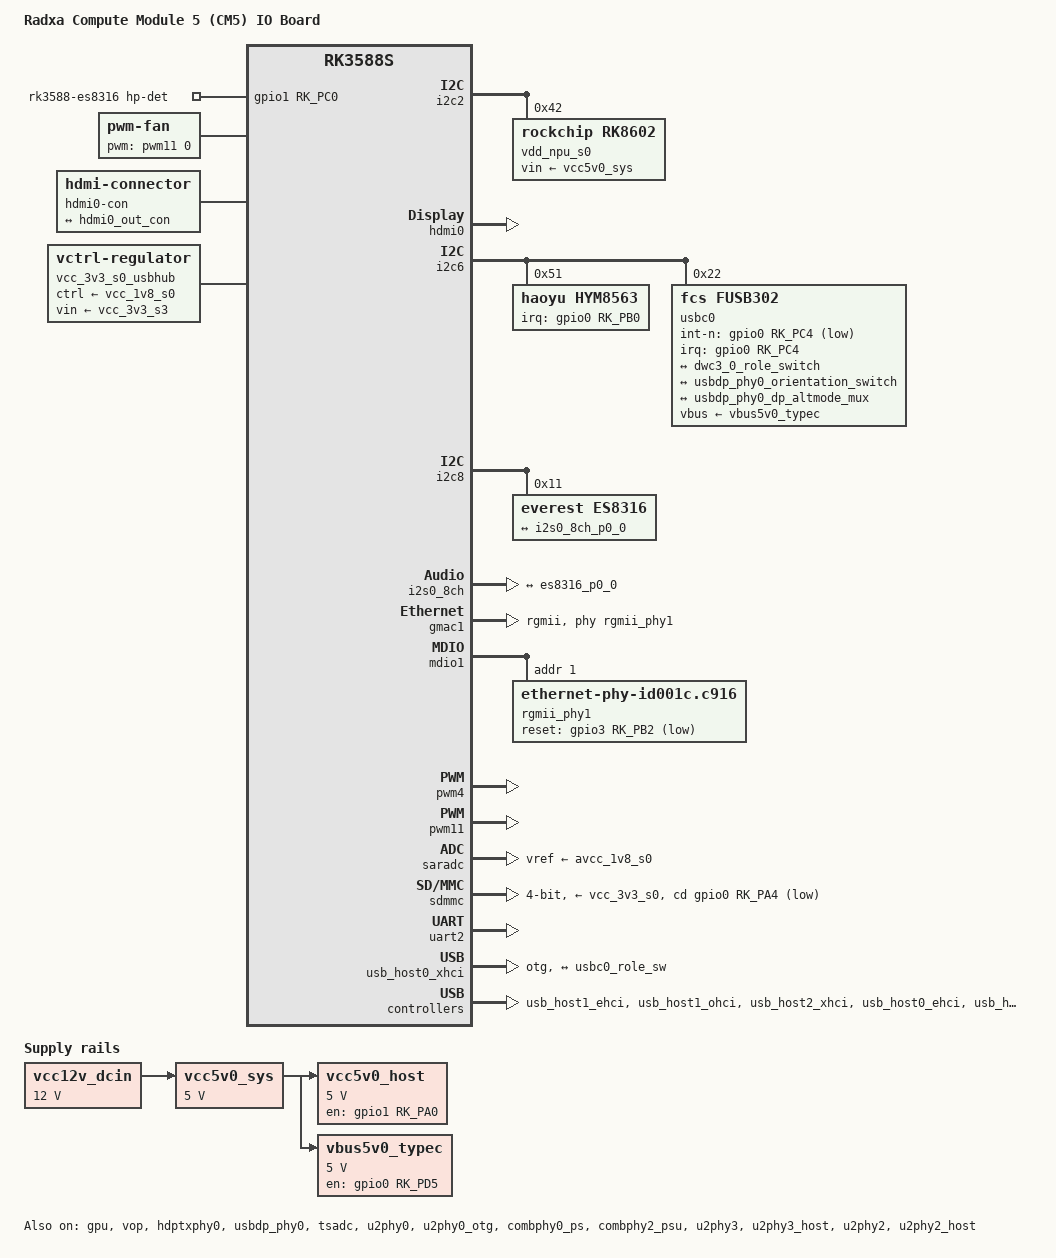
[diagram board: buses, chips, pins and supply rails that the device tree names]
// SPDX-License-Identifier: (GPL-2.0+ OR MIT)

/dts-v1/;

#include <dt-bindings/gpio/gpio.h>
#include <dt-bindings/leds/common.h>
#include <dt-bindings/pinctrl/rockchip.h>
#include <dt-bindings/soc/rockchip,vop2.h>
#include "dt-bindings/usb/pd.h"
#include "rk3588s-radxa-cm5.dtsi"

/ {
	model = "Radxa Compute Module 5 (CM5) IO Board";
	compatible = "radxa,cm5-io", "radxa,cm5", "rockchip,rk3588s";

	aliases {
		ethernet0 = &gmac1;
		mmc0 = &sdmmc;
		mmc1 = &sdhci;
		mmc2 = &sdio;
	};

	analog-sound {
		compatible = "audio-graph-card";
		label = "rk3588-es8316";

		widgets = "Microphone", "Mic Jack",
			  "Headphone", "Headphones";

		routing = "MIC2", "Mic Jack",
			  "Headphones", "HPOL",
			  "Headphones", "HPOR";

		dais = <&i2s0_8ch_p0>;
		hp-det-gpios = <&gpio1 RK_PC0 GPIO_ACTIVE_HIGH>;
		pinctrl-names = "default";
		pinctrl-0 = <&hp_detect>;
	};

	chosen {
		stdout-path = "serial2:1500000n8";
	};

	fan: pwm-fan {
		compatible = "pwm-fan";
		cooling-levels = <0 64 128 192 255>;
		pwms = <&pwm11 0 60000 0>;
		#cooling-cells = <2>;
	};

	hdmi0-con {
		compatible = "hdmi-connector";
		type = "a";

		port {
			hdmi0_con_in: endpoint {
				remote-endpoint = <&hdmi0_out_con>;
			};
		};
	};

	vcc12v_dcin: vcc12v-dcin-regulator {
		compatible = "regulator-fixed";
		regulator-name = "vcc12v_dcin";
		regulator-always-on;
		regulator-boot-on;
		regulator-min-microvolt = <12000000>;
		regulator-max-microvolt = <12000000>;
	};

	vcc_3v3_s0_usbhub: vcc3v3-s0-usb-hub-regulator {
		compatible = "vctrl-regulator";
		regulator-name = "vcc_3v3_s0_usbhub";
		regulator-boot-on;
		ctrl-supply = <&vcc_1v8_s0>;
		ctrl-voltage-range = <1700000 1900000>;
		regulator-always-on;
		regulator-min-microvolt = <3300000>;
		regulator-max-microvolt = <3300000>;
		vin-supply = <&vcc_3v3_s3>;
	};

	// TODO rename
	vcc5v0_host: vcc5v0-host-regulator {
		compatible = "regulator-fixed";
		regulator-name = "vcc5v0_host";
		regulator-boot-on;
		regulator-always-on;
		regulator-min-microvolt = <5000000>;
		regulator-max-microvolt = <5000000>;
		enable-active-high;
		gpio = <&gpio1 RK_PA0 GPIO_ACTIVE_HIGH>;
		pinctrl-names = "default";
		pinctrl-0 = <&vcc5v0_usb_host_pwren>;
		vin-supply = <&vcc5v0_sys>;
	};

	vbus5v0_typec: vbus5v0-typec {
		compatible = "regulator-fixed";
		regulator-name = "vbus5v0_typec";
		regulator-boot-on;
		regulator-always-on;
		regulator-min-microvolt = <5000000>;
		regulator-max-microvolt = <5000000>;
		enable-active-high;
		gpio = <&gpio0 RK_PD5 GPIO_ACTIVE_HIGH>;
		pinctrl-names = "default";
		pinctrl-0 = <&vbus5v0_typec_en>;
		vin-supply = <&vcc5v0_sys>;
	};

	vcc5v0_sys: vcc5v0-sys-regulator {
		compatible = "regulator-fixed";
		regulator-name = "vcc5v0_sys";
		regulator-always-on;
		regulator-boot-on;
		regulator-min-microvolt = <5000000>;
		regulator-max-microvolt = <5000000>;
		vin-supply = <&vcc12v_dcin>;
	};
};

&i2c2 {
	status = "okay";
	vdd_npu_s0: regulator@42 {
		compatible = "rockchip,rk8602";
		reg = <0x42>;
		fcs,suspend-voltage-selector = <1>;
		regulator-name = "vdd_npu_s0";
		regulator-always-on;
		regulator-boot-on;
		regulator-min-microvolt = <550000>;
		regulator-max-microvolt = <950000>;
		regulator-ramp-delay = <2300>;
		vin-supply = <&vcc5v0_sys>;

		regulator-state-mem {
			regulator-off-in-suspend;
		};
	};
};


&gpu {
	mali-supply = <&vdd_gpu_s0>;
	sram-supply = <&vdd_gpu_mem_s0>;
	status = "okay";
};


&hdmi0 {
	status = "okay";
};


&hdmi0_in {
	hdmi0_in_vp0: endpoint {
		remote-endpoint = <&vp0_out_hdmi0>;
	};
};

&hdmi0_out {
	hdmi0_out_con: endpoint {
		remote-endpoint = <&hdmi0_con_in>;
	};
};

&vop {
	status = "okay";
};

&hdptxphy0 {
	status = "okay";
};

&vop_mmu {
	status = "okay";
};
&vp0 {
	vp0_out_hdmi0: endpoint@ROCKCHIP_VOP2_EP_HDMI0 {
		reg = <ROCKCHIP_VOP2_EP_HDMI0>;
		remote-endpoint = <&hdmi0_in_vp0>;
	};
};

&i2c6 {
	status = "okay";
	pinctrl-names = "default";
	pinctrl-0 = <&i2c6m3_xfer>;


	hym8563: rtc@51 {
		compatible = "haoyu,hym8563";
		reg = <0x51>;
		#clock-cells = <0>;
		clock-output-names = "hym8563";
		pinctrl-names = "default";
		pinctrl-0 = <&hym8563_int>;
		interrupt-parent = <&gpio0>;
		interrupts = <RK_PB0 IRQ_TYPE_LEVEL_LOW>;
		wakeup-source;
	};

	usbc0: fusb302@22 {
		compatible = "fcs,fusb302";
		reg = <0x22>;
		interrupt-parent = <&gpio0>;
		interrupts = <RK_PC4 IRQ_TYPE_LEVEL_LOW>;
		int-n-gpios = <&gpio0 RK_PC4 GPIO_ACTIVE_LOW>;
		pinctrl-names = "default";
		pinctrl-0 = <&usbc0_int>;
		vbus-supply = <&vbus5v0_typec>;
		status = "okay";

		ports {
			#address-cells = <1>;
			#size-cells = <0>;
			port@0 {
			reg = <0>;
			usbc0_role_sw: endpoint@0 {
				remote-endpoint = <&dwc3_0_role_switch>;
				};
			};
		};

		usb_con: connector {
			compatible = "usb-c-connector";
			label = "USB-C";
			data-role = "dual";
			power-role = "dual";
			try-power-role = "sink";
			op-sink-microwatt = <1000000>;

			sink-pdos = <PDO_FIXED(5000, 1000, PDO_FIXED_USB_COMM)>;

			source-pdos = <PDO_FIXED(5000, 3000, PDO_FIXED_USB_COMM)>;

			altmodes {
				#address-cells = <1>;
				#size-cells = <0>;

				altmode@0 {
					reg = <0>;
					svid = <0xff01>;
					vdo = <0xffffffff>;
				};
			};

			ports {
				#address-cells = <1>;
				#size-cells = <0>;

				port@0 {
					reg = <0>;
					usbc0_orien_sw: endpoint {
						remote-endpoint = <&usbdp_phy0_orientation_switch>;
					};
				};

				port@1 {
					reg = <1>;
					dp_altmode_mux: endpoint {
						remote-endpoint = <&usbdp_phy0_dp_altmode_mux>;
					};
				};
			};
		};
	};
};

&usbdp_phy0 {
	status = "okay";
	orientation-switch;
	svid = <0xff01>;
	sbu1-dc-gpios = <&gpio3 RK_PC4 GPIO_ACTIVE_HIGH>;
	sbu2-dc-gpios = <&gpio3 RK_PD4 GPIO_ACTIVE_HIGH>;

	port {
		#address-cells = <1>;
		#size-cells = <0>;
		usbdp_phy0_orientation_switch: endpoint@0 {
			reg = <0>;
			remote-endpoint = <&usbc0_orien_sw>;
		};

		usbdp_phy0_dp_altmode_mux: endpoint@1 {
			reg = <1>;
			remote-endpoint = <&dp_altmode_mux>;
		};
	};
};

&i2c8 {
	status = "okay";
	pinctrl-0 = <&i2c8m2_xfer>;
	es8316: audio-codec@11 {
		compatible = "everest,es8316";
		reg = <0x11>;
		clocks = <&cru I2S0_8CH_MCLKOUT>;
		clock-names = "mclk";
		assigned-clocks = <&cru I2S0_8CH_MCLKOUT>;
		assigned-clock-rates = <12288000>;
		#sound-dai-cells = <0>;

		port {
			es8316_p0_0: endpoint {
				remote-endpoint = <&i2s0_8ch_p0_0>;
			};
		};
	};
};

&i2s0_8ch {
	pinctrl-names = "default";
	pinctrl-0 = <&i2s0_lrck
		     &i2s0_mclk
		     &i2s0_sclk
		     &i2s0_sdi0
		     &i2s0_sdo0>;
	status = "okay";

	i2s0_8ch_p0: port {
		i2s0_8ch_p0_0: endpoint {
			dai-format = "i2s";
			mclk-fs = <256>;
			remote-endpoint = <&es8316_p0_0>;
		};
	};
};

&gmac1 {
	clock_in_out = "output";
	phy-handle = <&rgmii_phy1>;
	phy-mode = "rgmii";
	pinctrl-0 = <&gmac1_miim
		     &gmac1_tx_bus2
		     &gmac1_rx_bus2
		     &gmac1_rgmii_clk
		     &gmac1_rgmii_bus>;
	pinctrl-names = "default";
	tx_delay = <0x41>;
	rx_delay = <0x3a>;
	status = "okay";
};

&mdio1 {
	rgmii_phy1: ethernet-phy@1 {
		/* RTL8211F */
		compatible = "ethernet-phy-id001c.c916";
		reg = <0x1>;
		pinctrl-names = "default";
		pinctrl-0 = <&rtl8211f_rst>;
		reset-assert-us = <20000>;
		reset-deassert-us = <100000>;
		reset-gpios = <&gpio3 RK_PB2 GPIO_ACTIVE_LOW>;
	};
};

&pinctrl {
	fusb302 {
		vbus5v0_typec_en: vbus5v0-typec-en {
			rockchip,pins = <0 RK_PD5 RK_FUNC_GPIO &pcfg_pull_none>;
		};

		usbc0_int: usbc0-int {
			rockchip,pins = <0 RK_PC4 RK_FUNC_GPIO &pcfg_pull_up>;
		};
	};

	hym8563 {
		hym8563_int: hym8563-int {
			rockchip,pins = <0 RK_PB0 RK_FUNC_GPIO &pcfg_pull_none>;
		};
	};

	sound {
		hp_detect: hp-detect {
			rockchip,pins = <1 RK_PC0 RK_FUNC_GPIO &pcfg_pull_none>;
		};
	};

	usb {
		vcc5v0_usb_host_pwren: vcc5v0-usb-host-pwren {
			rockchip,pins = <1 RK_PA0 RK_FUNC_GPIO &pcfg_pull_none>;
		};

		vcc5v0_typec5v_pwren: vcc5v0-typec5v-pwren {
			rockchip,pins = <0 RK_PD5 RK_FUNC_GPIO &pcfg_pull_none>;
		};
	};

	wifibt {
		wl_reset: wl-reset {
			rockchip,pins = <0 RK_PD0 RK_FUNC_GPIO &pcfg_pull_up>;
		};

		wl_dis: wl-dis {
			rockchip,pins = <0 RK_PD5 RK_FUNC_GPIO &pcfg_output_high>;
		};

		wl_wake_host: wl-wake-host {
			rockchip,pins = <0 RK_PC7 RK_FUNC_GPIO &pcfg_pull_up>;
		};

		bt_dis: bt-dis {
			rockchip,pins = <0 RK_PD4 RK_FUNC_GPIO &pcfg_output_high>;
		};

		bt_wake_host: bt-wake-host {
			rockchip,pins = <0 RK_PC5 RK_FUNC_GPIO &pcfg_pull_up>;
		};
	};
	
	rtl8211f {
		rtl8211f_rst: rtl8211f-rst {
			rockchip,pins = <3 RK_PB2 RK_FUNC_GPIO &pcfg_pull_none>;
		};
	};
};

&pwm4 {
	pinctrl-names = "default";
	pinctrl-0 = <&pwm4m0_pins>;
	status = "okay";
};

&pwm11 {
	pinctrl-names = "default";
	pinctrl-0 = <&pwm11m3_pins>;
	status = "okay";
};

&saradc {
	vref-supply = <&avcc_1v8_s0>;
	status = "okay";
};


&sdmmc {
	bus-width = <4>;
	cap-mmc-highspeed;
	cap-sd-highspeed;
	cd-gpios = <&gpio0 RK_PA4 GPIO_ACTIVE_LOW>;
	disable-wp;
	max-frequency = <150000000>;
	no-sdio;
	no-mmc;
	sd-uhs-sdr104;
	vmmc-supply = <&vcc_3v3_s0>;
	vqmmc-supply = <&vccio_sd_s0>;
	//pinctrl-names = "default";
	//pinctrl-0 = <&sdmmc_bus4 &sdmmc_clk &sdmmc_cmd &sdmmc_det>;
	status = "okay";
};


&tsadc {
	status = "okay";
};



&u2phy0 {
	status = "okay";
};

&u2phy0_otg {
	status = "okay";
};


&uart2 {
	pinctrl-0 = <&uart2m0_xfer>;
	status = "okay";
};

&usbdp_phy0 {
	status = "okay";
	rockchip,dp-lane-mux = <2 3>;
};

&usb_host0_xhci {
	dr_mode = "otg";
	status = "okay";

	usb-role-switch;
	maximum-speed = "high-speed";
	port {
		#address-cells = <1>;
		#size-cells = <0>;
		dwc3_0_role_switch: endpoint@0 {
			reg = <0>;
			remote-endpoint = <&usbc0_role_sw>;
		};
	};
};

&combphy0_ps {
	status = "okay";
};

&combphy2_psu {
	status = "okay";
};


/* USB3 Type-A port */
&usb_host1_ehci {
	status = "okay";
};

&usb_host1_ohci {
	status = "okay";
};

&usb_host2_xhci {
	status = "okay";
};

&u2phy3 {
	status = "okay";
};

&u2phy3_host {
	//TODO FALSE
	phy-supply = <&vcc5v0_host>;
	status = "okay";
};


// connected to usb hub
&usb_host0_ehci {
	status = "okay";
};

&usb_host0_ohci {
	status = "okay";
};

&u2phy2 {
	status = "okay";
};

&u2phy2_host {
		//TODO FALSE
	phy-supply = <&vcc5v0_host>;
	status = "okay";
};

